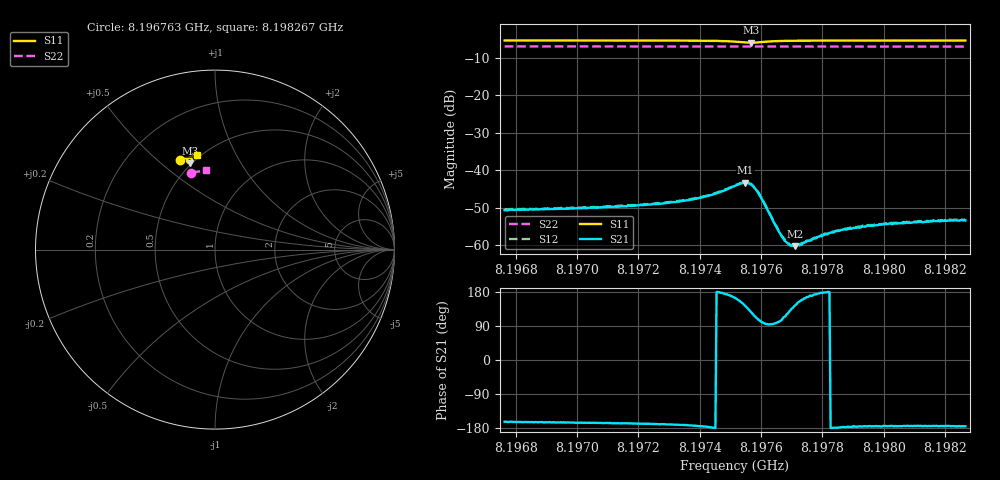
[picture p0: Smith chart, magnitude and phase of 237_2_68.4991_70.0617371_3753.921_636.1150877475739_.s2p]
#  HZ  S  RI  R  50.00
! Rohde & Schwarz Vector Network Analyzer
! Rohde-Schwarz,ZNB20-2Port,1311601062101988,3.16
! Created: UTC 3/20/2024, 5:14:18 PM
! freq[Hz]  re:S11  im:S11  re:S21  im:S21  re:S12  im:S12  re:S22  im:S22
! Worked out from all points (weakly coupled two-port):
!   401 points, 8.196763 GHz to 8.198267 GHz, reference 50 ohm
!   highest |S21| = -43.39 dB at 8.197549 GHz (marker M1); lowest = -60.3 dB at 8.197711 GHz (marker M2)
!   lowest |S11| = -6.0 dB at 8.197568 GHz (marker M3), VSWR 3.00, Z = 24.6 + j31.5 ohm
!   |S11| at or under -10 dB: nowhere
!   |S22| runs from -7.1 to -7.0 dB; largest |S21 - S12| = 0.00034
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8.196763e9  -0.1974 0.4985  -0.00279 -0.000849  -0.0029 -0.000755  -0.1313 0.4269
8.1970149e9  -0.1797 0.5048  -0.003 -0.000785  -0.0031 -0.000642  -0.1173 0.4305
8.1972668e9  -0.16 0.5102  -0.00348 -0.000641  -0.00357 -0.00053  -0.1037 0.4335
8.1973646e9  -0.1504 0.5117  -0.00395 -0.000522  -0.00404 -0.000349  -0.0981 0.4348
8.197421e9  -0.1437 0.5115  -0.00445 -0.000333  -0.00456 -0.00017  -0.0949 0.4353
8.1974586e9  -0.1377 0.5102  -0.00495 5.79e-05  -0.00504 0.000245  -0.0927 0.4355
8.197515e9  -0.1276 0.5014  -0.00591 0.0017  -0.00596 0.00198  -0.0895 0.436
8.1975489e9  -0.1282 0.487  -0.00538 0.00411  -0.00534 0.0044  -0.0876 0.4358
8.1975677e9  -0.1369 0.4805  -0.00375 0.00513  -0.00365 0.00545  -0.0869 0.4358
8.1975827e9  -0.1458 0.4808  -0.00216 0.00511  -0.00204 0.00533  -0.0863 0.4361
8.1975978e9  -0.1522 0.4854  -0.000986 0.00435  -0.000822 0.0045  -0.0857 0.4362
8.1976504e9  -0.154 0.5028  -0.000233 0.00171  -0.000172 0.00177  -0.083 0.4371
8.197673e9  -0.1511 0.5069  -0.000464 0.00112  -0.000394 0.0012  -0.0816 0.4376
8.1976918e9  -0.1491 0.5093  -0.000616 0.000789  -0.000631 0.00083  -0.0806 0.4377
8.1977106e9  -0.1468 0.5111  -0.000778 0.000572  -0.000778 0.000638  -0.0794 0.4378
8.1977331e9  -0.1441 0.5127  -0.000941 0.000361  -0.000967 0.00045  -0.0781 0.4381
8.197767e9  -0.1405 0.5147  -0.00117 0.000217  -0.00118 0.000231  -0.0761 0.4384
8.1978271e9  -0.1348 0.5171  -0.00146 -9.01e-06  -0.00149 5.26e-05  -0.0727 0.4389
8.1978835e9  -0.1297 0.5186  -0.00164 -0.000116  -0.00168 -4.99e-05  -0.0696 0.4393
8.1980189e9  -0.119 0.5216  -0.00192 -0.000197  -0.00193 -0.000118  -0.0618 0.4403
8.1981693e9  -0.1075 0.524  -0.00208 -0.000215  -0.00215 -0.000124  -0.0535 0.4412
8.1982671e9  -0.1004 0.5255  -0.00213 -0.000188  -0.00219 -0.000126  -0.0477 0.4415
